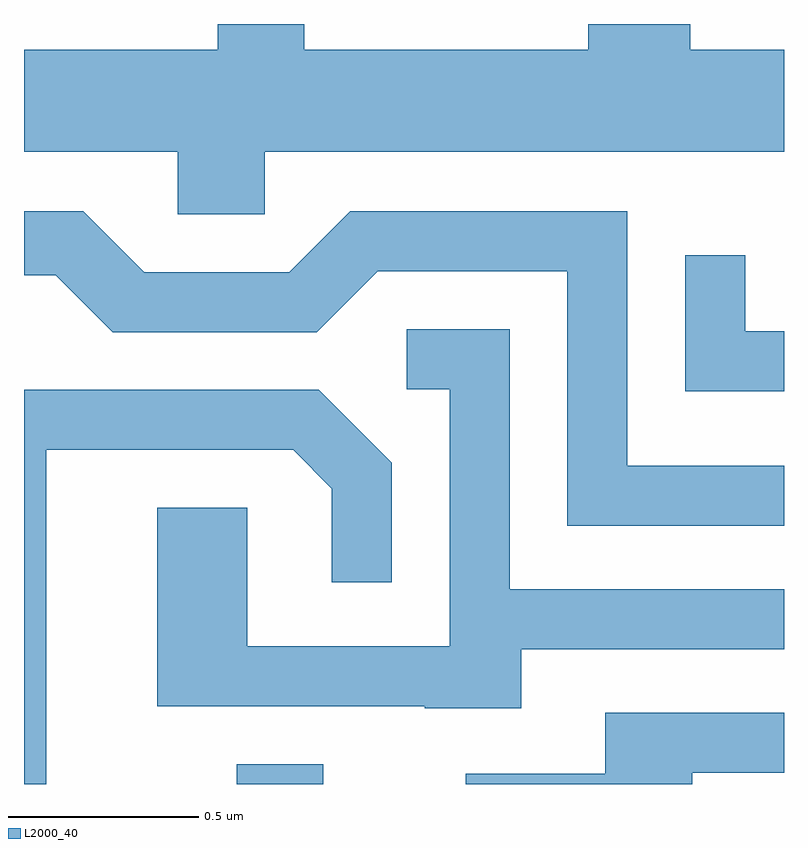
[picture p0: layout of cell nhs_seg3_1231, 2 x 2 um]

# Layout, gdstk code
import gdstk
lib = gdstk.Library(unit=1e-6, precision=1e-09)
def R(c, l, rs):  # rectangles x0, y0, x1, y1
    for r in rs: c.add(gdstk.rectangle(r[:2], r[2:], *l))
def P(c, l, *ps):  # polygons
    for p in ps: c.add(gdstk.Polygon(p, *l))
L2000_40 = (2000, 40)

nhs_seg3_1231 = lib.new_cell('nhs_seg3_1231')
R(nhs_seg3_1231, L2000_40, [(194.171,1250.892,194.399,1250.944)])
P(nhs_seg3_1231, L2000_40, [(194.244,1252.556),(195.611,1252.556),(195.611,1252.824),(195.364,1252.824),(195.364,1252.892),(195.096,1252.892),(195.096,1252.824),(194.349,1252.824),(194.349,1252.892),(194.121,1252.892),(194.121,1252.824),(193.611,1252.824),(193.611,1252.556),(194.016,1252.556),(194.016,1252.391),(194.244,1252.391)],
  [(195.611,1251.729),(195.199,1251.729),(195.199,1252.399),(194.469,1252.399),(194.309,1252.239),(193.927,1252.239),(193.767,1252.399),(193.611,1252.399),(193.611,1252.231),(193.694,1252.231),(193.844,1252.081),(194.382,1252.081),(194.542,1252.241),(195.041,1252.241),(195.041,1251.571),(195.611,1251.571)],
  [(195.611,1252.084),(195.509,1252.084),(195.509,1252.283),(195.351,1252.283),(195.351,1251.926),(195.611,1251.926)],
  [(194.919,1251.246),(195.611,1251.246),(195.611,1251.404),(194.889,1251.404),(194.889,1252.089),(194.618,1252.089),(194.618,1251.931),(194.731,1251.931),(194.731,1251.254),(194.199,1251.254),(194.199,1251.619),(193.961,1251.619),(193.961,1251.096),(194.665,1251.096),(194.665,1251.091),(194.919,1251.091)],
  [(193.669,1251.771),(194.319,1251.771),(194.421,1251.669),(194.421,1251.423),(194.579,1251.423),(194.579,1251.737),(194.387,1251.929),(193.611,1251.929),(193.611,1250.892),(193.669,1250.892)],
  [(195.369,1250.921),(195.611,1250.921),(195.611,1251.079),(195.141,1251.079),(195.141,1250.919),(194.773,1250.919),(194.773,1250.892),(195.369,1250.892)])

lib.write_gds('nhs_seg3_1231.gds')
